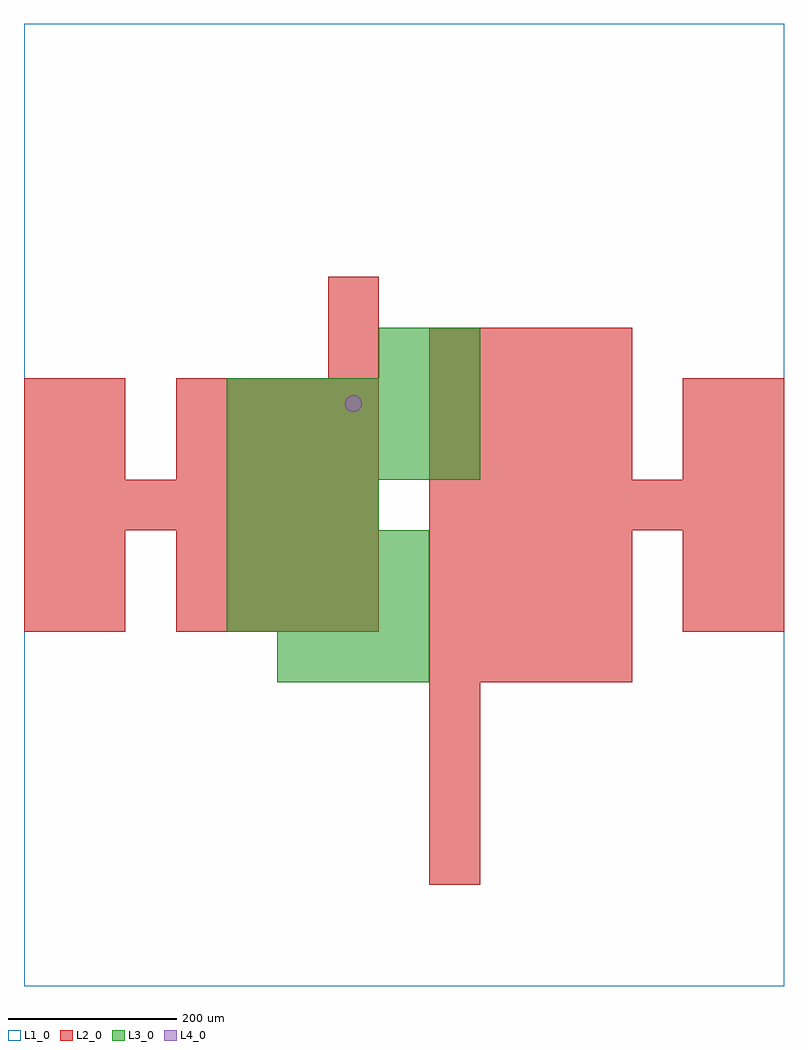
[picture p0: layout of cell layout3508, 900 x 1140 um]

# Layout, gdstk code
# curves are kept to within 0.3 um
import gdstk
lib = gdstk.Library(unit=1e-6, precision=1e-09)
def R(c, l, rs):  # rectangles x0, y0, x1, y1
    for r in rs: c.add(gdstk.rectangle(r[:2], r[2:], *l))
def A(c, l, x, y, w, h, nx, ny, dx, dy):  # array of equal rectangles
    R(c, l, [(x+i*dx, y+j*dy, x+i*dx+w, y+j*dy+h) for i in range(nx) for j in range(ny)])
def P(c, l, *ps):  # polygons
    for p in ps: c.add(gdstk.Polygon(p, *l))
L1_0 = (1, 0)
L2_0 = (2, 0)
L3_0 = (3, 0)
L4_0 = (4, 0)

layout3508 = lib.new_cell('layout3508')
R(layout3508, L1_0, [(0,0,900,1140)])
A(layout3508, L2_0, 480, 120, 60, 60, 1, 4, 0, 60)
A(layout3508, L2_0, 480, 360, 60, 60, 4, 3, 60, 60)
A(layout3508, L2_0, 180, 420, 60, 60, 4, 2, 60, 60)
A(layout3508, L2_0, 0, 540, 60, 60, 7, 1, 60, 0)
A(layout3508, L2_0, 480, 540, 60, 60, 7, 1, 60, 0)
A(layout3508, L2_0, 180, 600, 60, 60, 4, 2, 60, 60)
A(layout3508, L2_0, 480, 600, 60, 60, 4, 3, 60, 60)
R(layout3508, L2_0, [(0,420,60,480), (60,420,120,480), (780,420,840,480), (840,420,900,480), (0,480,60,540), (60,480,120,540), (780,480,840,540), (840,480,900,540), (0,600,60,660), (60,600,120,660), (780,600,840,660), (840,600,900,660), (0,660,60,720), (60,660,120,720), (780,660,840,720), (840,660,900,720), (360,720,420,780), (360,780,420,840)])
A(layout3508, L3_0, 300, 360, 60, 60, 3, 1, 60, 0)
A(layout3508, L3_0, 240, 420, 60, 60, 4, 2, 60, 60)
A(layout3508, L3_0, 240, 540, 60, 60, 3, 1, 60, 0)
A(layout3508, L3_0, 240, 600, 60, 60, 5, 2, 60, 60)
R(layout3508, L3_0, [(420,720,480,780), (480,720,540,780)])
P(layout3508, L4_0, [(400,690),(399.239,693.827),(397.071,697.071),(393.827,699.239),(390,700),(386.173,699.239),(382.929,697.071),(380.761,693.827),(380,690),(380.761,686.173),(382.929,682.929),(386.173,680.761),(390,680),(393.827,680.761),(397.071,682.929),(399.239,686.173)])

lib.write_gds('layout3508.gds')
